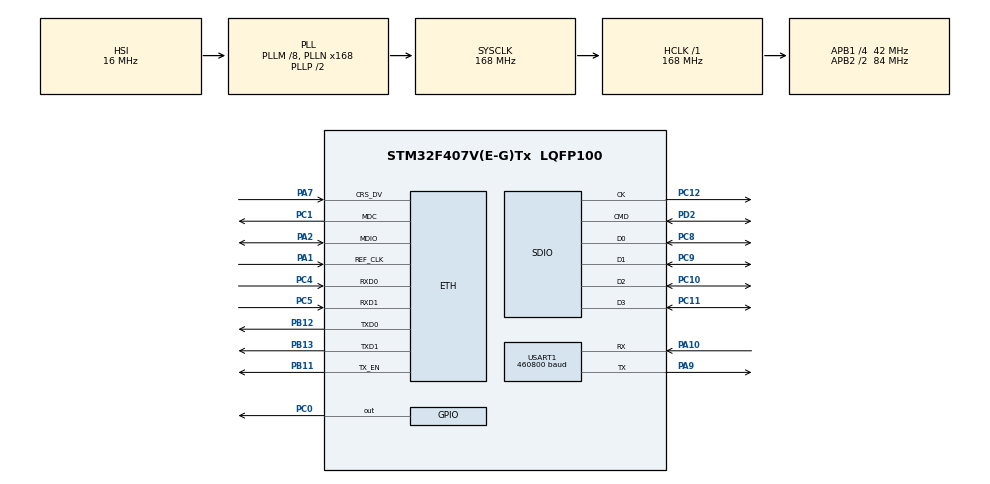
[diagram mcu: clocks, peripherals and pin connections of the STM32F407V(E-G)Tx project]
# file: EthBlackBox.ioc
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ETH.MediaInterface=HAL_ETH_RMII_MODE
ETH.RxMode=ETH_RXINTERRUPT_MODE
FREERTOS.Tasks01=defaultTask,2,256,StartDefaultTask,Default,NULL,Dynamic,NULL,NULL;ethernetTask,0,2048,EthernetTask,Default,NULL,Dynamic,NULL,NULL
FREERTOS.configUSE_STATS_FORMATTING_FUNCTIONS=1
FREERTOS.configUSE_TRACE_FACILITY=1
LWIP.BSP.number=1
LWIP.GATEWAY_ADDRESS=192.168.088.001
LWIP.IP_ADDRESS=192.168.088.010
LWIP.LWIP_DHCP=0
LWIP.NETMASK_ADDRESS=255.255.255.000
LWIP.Version=v2.1.2_Cube
LWIP0.BSP.STBoard=false
LWIP0.BSP.api=BSP_COMPONENT_DRIVER
LWIP0.BSP.component=LAN8742
LWIP0.BSP.instance=LAN8742
LWIP0.BSP.name=Driver_PHY
LWIP0.BSP.semaphore=S_LAN8742
LWIP0.BSP.solution=LAN8742
Mcu.Family=STM32F4
Mcu.Name=STM32F407V(E-G)Tx
Mcu.Package=LQFP100
NVIC.ETH_IRQn=true\:6\:0\:true\:false\:true\:true\:false\:true\:true
NVIC.PriorityGroup=NVIC_PRIORITYGROUP_4
NVIC.TIM1_UP_TIM10_IRQn=true\:0\:0\:false\:false\:true\:false\:false\:true\:true
NVIC.TimeBase=TIM1_UP_TIM10_IRQn
NVIC.TimeBaseIP=TIM1
PA1.Mode=RMII
PA1.Signal=ETH_REF_CLK
PA10.Mode=Asynchronous
PA10.Signal=USART1_RX
PA13.Mode=Serial_Wire
PA13.Signal=SYS_JTMS-SWDIO
PA14.Mode=Serial_Wire
PA14.Signal=SYS_JTCK-SWCLK
PA2.Mode=RMII
PA2.Signal=ETH_MDIO
PA7.Mode=RMII
PA7.Signal=ETH_CRS_DV
PA9.Mode=Asynchronous
PA9.Signal=USART1_TX
PB11.Mode=RMII
PB11.Signal=ETH_TX_EN
PB12.Mode=RMII
PB12.Signal=ETH_TXD0
PB13.Mode=RMII
PB13.Signal=ETH_TXD1
PC0.Signal=GPIO_Output
PC1.Mode=RMII
PC1.Signal=ETH_MDC
PC10.GPIO_PuPd=GPIO_PULLUP
PC10.Mode=SD_4_bits_Wide_bus
PC10.Signal=SDIO_D2
PC11.GPIO_PuPd=GPIO_PULLUP
PC11.Mode=SD_4_bits_Wide_bus
PC11.Signal=SDIO_D3
PC12.GPIO_PuPd=GPIO_PULLUP
PC12.Mode=SD_4_bits_Wide_bus
PC12.Signal=SDIO_CK
PC14-OSC32_IN.Mode=LSE-External-Oscillator
PC14-OSC32_IN.Signal=RCC_OSC32_IN
PC15-OSC32_OUT.Mode=LSE-External-Oscillator
PC15-OSC32_OUT.Signal=RCC_OSC32_OUT
PC4.Mode=RMII
PC4.Signal=ETH_RXD0
PC5.Mode=RMII
PC5.Signal=ETH_RXD1
PC8.GPIO_PuPd=GPIO_PULLUP
PC8.Mode=SD_4_bits_Wide_bus
PC8.Signal=SDIO_D0
PC9.GPIO_PuPd=GPIO_PULLUP
PC9.Mode=SD_4_bits_Wide_bus
PC9.Signal=SDIO_D1
PD2.GPIO_PuPd=GPIO_PULLUP
PD2.Mode=SD_4_bits_Wide_bus
PD2.Signal=SDIO_CMD
PH0-OSC_IN.Mode=HSE-External-Oscillator
PH0-OSC_IN.Signal=RCC_OSC_IN
PH1-OSC_OUT.Mode=HSE-External-Oscillator
PH1-OSC_OUT.Signal=RCC_OSC_OUT
ProjectManager.HeapSize=0x200
ProjectManager.StackSize=0x400
ProjectManager.TargetToolchain=EWARM V8.50
RCC.48MHZClocksFreq_Value=48000000
RCC.AHBFreq_Value=168000000
RCC.APB1CLKDivider=RCC_HCLK_DIV4
RCC.APB1Freq_Value=42000000
RCC.APB1TimFreq_Value=84000000
RCC.APB2CLKDivider=RCC_HCLK_DIV2
RCC.APB2Freq_Value=84000000
RCC.APB2TimFreq_Value=168000000
RCC.CortexFreq_Value=168000000
RCC.HCLKFreq_Value=168000000
RCC.HSE_VALUE=25000000
RCC.HSI_VALUE=16000000
RCC.PLLM=8
RCC.PLLN=168
RCC.PLLQ=7
RCC.SYSCLKFreq_VALUE=168000000
RCC.SYSCLKSource=RCC_SYSCLKSOURCE_PLLCLK
RCC.VCOOutputFreq_Value=336000000
SDIO.ClockDiv=2
SDIO.ClockPowerSave=SDIO_CLOCK_POWER_SAVE_DISABLE
SDIO.HardwareFlowControl=SDIO_HARDWARE_FLOW_CONTROL_DISABLE
USART1.BaudRate=460800
USART1.OverSampling=UART_OVERSAMPLING_16
USART1.Parity=PARITY_NONE
USART1.VirtualMode=VM_ASYNC
VP_FATFS_VS_SDIO.Mode=SDIO
VP_FREERTOS_VS_CMSIS_V1.Mode=CMSIS_V1
VP_LWIP_VS_Enabled.Mode=Enabled
VP_SYS_VS_tim1.Mode=TIM1
board=custom

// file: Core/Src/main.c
/* USER CODE BEGIN Header */
/**
  ******************************************************************************
  * @file           : main.c
  * @brief          : Main program body
  ******************************************************************************
  * @attention
  *
  * <h2><center>&copy; Copyright (c) 2024 STMicroelectronics.
  * All rights reserved.</center></h2>
  *
  * This software component is licensed by ST under BSD 3-Clause license,
  * the "License"; You may not use this file except in compliance with the
  * License. You may obtain a copy of the License at:
  *                        opensource.org/licenses/BSD-3-Clause
  *
  ******************************************************************************
  */
/* USER CODE END Header */
#include "main.h"
#include "cmsis_os.h"
#include "fatfs.h"
#include "lwip.h"
#include "sdio.h"
#include "usart.h"
#include "gpio.h"

/* USER CODE BEGIN Includes */
#include "usart.h"
#include "stdio.h"

/* USER CODE END Includes */

void SystemClock_Config(void);
void MX_FREERTOS_Init(void);

/* USER CODE BEGIN 0 */

int fputc(int ch, FILE *f) {
    HAL_UART_Transmit(&huart1, (uint8_t *)&ch, 1, HAL_MAX_DELAY);
    return ch;
}

/* USER CODE END 0 */

int main(void)
{

  /* MCU Configuration--------------------------------------------------------*/

  /* Reset of all peripherals, Initializes the Flash interface and the Systick. */
  HAL_Init();

  /* Configure the system clock */
  SystemClock_Config();

  /* Initialize all configured peripherals */
  MX_GPIO_Init();
  MX_USART1_UART_Init();
  MX_SDIO_SD_Init();
  MX_FATFS_Init();
  /* USER CODE BEGIN 2 */
  setvbuf(stdout, NULL, _IONBF, 0);

  printf("Hello, STM32!\r\n");

  /* USER CODE END 2 */

  /* Call init function for freertos objects (in cmsis_os2.c) */
  MX_FREERTOS_Init();

  /* Start scheduler */
  osKernelStart();

  /* We should never get here as control is now taken by the scheduler */

  /* Infinite loop */
  while (1)
  {

  }
}

void SystemClock_Config(void)
{
  RCC_OscInitTypeDef RCC_OscInitStruct = {0};
  RCC_ClkInitTypeDef RCC_ClkInitStruct = {0};

  /** Configure the main internal regulator output voltage
  */
  __HAL_RCC_PWR_CLK_ENABLE();
  __HAL_PWR_VOLTAGESCALING_CONFIG(PWR_REGULATOR_VOLTAGE_SCALE1);

  /** Initializes the RCC Oscillators according to the specified parameters
  * in the RCC_OscInitTypeDef structure.
  */
  RCC_OscInitStruct.OscillatorType = RCC_OSCILLATORTYPE_HSI;
  RCC_OscInitStruct.HSIState = RCC_HSI_ON;
  RCC_OscInitStruct.HSICalibrationValue = RCC_HSICALIBRATION_DEFAULT;
  RCC_OscInitStruct.PLL.PLLState = RCC_PLL_ON;
  RCC_OscInitStruct.PLL.PLLSource = RCC_PLLSOURCE_HSI;
  RCC_OscInitStruct.PLL.PLLM = 8;
  RCC_OscInitStruct.PLL.PLLN = 168;
  RCC_OscInitStruct.PLL.PLLP = RCC_PLLP_DIV2;
  RCC_OscInitStruct.PLL.PLLQ = 7;
  if (HAL_RCC_OscConfig(&RCC_OscInitStruct) != HAL_OK)
  {
    Error_Handler();
  }

  /** Initializes the CPU, AHB and APB buses clocks
  */
  RCC_ClkInitStruct.ClockType = RCC_CLOCKTYPE_HCLK|RCC_CLOCKTYPE_SYSCLK
                              |RCC_CLOCKTYPE_PCLK1|RCC_CLOCKTYPE_PCLK2;
  RCC_ClkInitStruct.SYSCLKSource = RCC_SYSCLKSOURCE_PLLCLK;
  RCC_ClkInitStruct.AHBCLKDivider = RCC_SYSCLK_DIV1;
  RCC_ClkInitStruct.APB1CLKDivider = RCC_HCLK_DIV4;
  RCC_ClkInitStruct.APB2CLKDivider = RCC_HCLK_DIV2;

  if (HAL_RCC_ClockConfig(&RCC_ClkInitStruct, FLASH_LATENCY_5) != HAL_OK)
  {
    Error_Handler();
  }
}

void HAL_TIM_PeriodElapsedCallback(TIM_HandleTypeDef *htim)
{
  if (htim->Instance == TIM1) {
    HAL_IncTick();
  }
}

void Error_Handler(void)
{
  __disable_irq();
  while (1)
  {
  }
}

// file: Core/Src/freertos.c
/* USER CODE BEGIN Header */
/**
  ******************************************************************************
  * File Name          : freertos.c
  * Description        : Code for freertos applications
  ******************************************************************************
  * @attention
  *
  * <h2><center>&copy; Copyright (c) 2024 STMicroelectronics.
  * All rights reserved.</center></h2>
  *
  * This software component is licensed by ST under Ultimate Liberty license
  * SLA0044, the "License"; You may not use this file except in compliance with
  * the License. You may obtain a copy of the License at:
  *                             www.st.com/SLA0044
  *
  ******************************************************************************
  */
/* USER CODE END Header */

#include "FreeRTOS.h"
#include "task.h"
#include "main.h"
#include "cmsis_os.h"

/* USER CODE BEGIN Includes */

#include "stdio.h"
#include "tcp_server.h"
#include "FreeRTOS.h"
#include "task.h"
#include "usart.h"
#include "fatfs.h"

/* USER CODE END Includes */

/* USER CODE BEGIN PD */

#define LAN8720_PHY_ADDRESS  0x00  // 根据你的硬件设计设置正确的PHY地址
//#define PHY_BSR              0x01  // LAN8720的基本状态寄存器地址

/* USER CODE END PD */

/* USER CODE BEGIN Variables */

FATFS FatFs;    // 文件系统对象
FIL fil;        // 文件对象
FRESULT res;    // 文件操作结果
/* USER CODE END Variables */
osThreadId defaultTaskHandle;
osThreadId ethernetTaskHandle;

/* USER CODE BEGIN FunctionPrototypes */
extern struct netif gnetif;
extern ETH_HandleTypeDef heth;

/* USER CODE END FunctionPrototypes */

void StartDefaultTask(void const * argument);
void EthernetTask(void const * argument);

extern void MX_LWIP_Init(void);
void MX_FREERTOS_Init(void); /* (MISRA C 2004 rule 8.1) */

/* GetIdleTaskMemory prototype (linked to static allocation support) */
void vApplicationGetIdleTaskMemory( StaticTask_t **ppxIdleTaskTCBBuffer, StackType_t **ppxIdleTaskStackBuffer, uint32_t *pulIdleTaskStackSize );

/* USER CODE BEGIN GET_IDLE_TASK_MEMORY */
static StaticTask_t xIdleTaskTCBBuffer;
static StackType_t xIdleStack[configMINIMAL_STACK_SIZE];

void vApplicationGetIdleTaskMemory( StaticTask_t **ppxIdleTaskTCBBuffer, StackType_t **ppxIdleTaskStackBuffer, uint32_t *pulIdleTaskStackSize )
{
  *ppxIdleTaskTCBBuffer = &xIdleTaskTCBBuffer;
  *ppxIdleTaskStackBuffer = &xIdleStack[0];
  *pulIdleTaskStackSize = configMINIMAL_STACK_SIZE;
  /* place for user code */
}

void init_sd_card(void) {
    // 初始化SD卡并挂载文件系统
    res = f_mount(&FatFs, "", 1);  // 挂载SD卡
    if (res == FR_OK) {
        printf("SD Card Mounted Successfully.\n");
    } else {
        printf("Failed to Mount SD Card.\n");
    }
}

void create_new_file(const char* filename) {
    // 创建一个新文件
    res = f_open(&fil, filename, FA_WRITE | FA_CREATE_ALWAYS);
    if (res == FR_OK) {
        printf("File Created Successfully: %s\n", filename);
    } else {
        printf("Failed to Create File: %s\n", filename);
    }
}

void write_to_file(const char* data, UINT data_len) {
    // 向文件写入数据
    UINT bytes_written;
    res = f_write(&fil, data, data_len, &bytes_written);
    if (res == FR_OK && bytes_written == data_len) {
        printf("Data Written to File Successfully.\n");
    } else {
        printf("Failed to Write Data to File.\n");
    }
}

void close_file(void) {
    // 关闭文件
    f_close(&fil);
    printf("File Closed.\n");
}
/* USER CODE END GET_IDLE_TASK_MEMORY */

void MX_FREERTOS_Init(void) {

  /* Create the thread(s) */
  /* definition and creation of defaultTask */
  osThreadDef(defaultTask, StartDefaultTask, osPriorityHigh, 0, 256);
  defaultTaskHandle = osThreadCreate(osThread(defaultTask), NULL);

  /* definition and creation of ethernetTask */
  osThreadDef(ethernetTask, EthernetTask, osPriorityNormal, 0, 2048);
  ethernetTaskHandle = osThreadCreate(osThread(ethernetTask), NULL);

}

void StartDefaultTask(void const * argument)
{
  /* init code for LWIP */
  MX_LWIP_Init();
  /* USER CODE BEGIN StartDefaultTask */
  /* Infinite loop */
  for(;;)
  {
//    char taskListBuffer[512];
//    vTaskList(taskListBuffer);
//    printf("\r\nTask List:\n%s\r\n\n", taskListBuffer);
//    printf("LWIP initialized, IP address: %s\r\n", ip4addr_ntoa(&gnetif.ip_addr));
//
//    uint32_t phyreg;
//    if (HAL_ETH_ReadPHYRegister(&heth, LAN8720_PHY_ADDRESS, PHY_BSR, &phyreg) != HAL_OK) {
//      printf("Failed to read PHY register\n");
//    } else {
//      printf("PHY BSR register value: 0x%08X\n", phyreg);
//    }
    osDelay(5000);
  }
  /* USER CODE END StartDefaultTask */
}

void EthernetTask(void const * argument)
{
  /* USER CODE BEGIN EthernetTask */
  int sock;
  struct sockaddr_in serverAddr, clientAddr;
  int addr_len = sizeof(clientAddr);
  char recvBuffer[128];

  // 初始化SD卡
  init_sd_card();
  create_new_file("0:/received_data.dat");  // 在TF卡根目录创建文件
  printf("sd_init!\r\n");

  // 创建套接字
  if ((sock = socket(AF_INET, SOCK_STREAM, 0)) < 0) {
      // 处理错误
      osThreadTerminate(NULL);
  }

  // 配置服务器地址
  serverAddr.sin_family = AF_INET;
  serverAddr.sin_port = htons(5000);
  serverAddr.sin_addr.s_addr = INADDR_ANY;

  // 绑定套接字
  if (bind(sock, (struct sockaddr *)&serverAddr, sizeof(serverAddr)) < 0) {
      // 处理错误
      close(sock);
      osThreadTerminate(NULL);
  }

  // 监听连接
  if (listen(sock, 1) < 0) {
      // 处理错误
      close(sock);
      osThreadTerminate(NULL);
  }

  for(;;)
  {
    int newSock = accept(sock, (struct sockaddr *)&clientAddr, (socklen_t *)&addr_len);
    if (newSock < 0) {
        // 处理错误
        continue;
    }

    while (1) {
        int recvLen = recv(newSock, recvBuffer, sizeof(recvBuffer) - 1, 0);
        if (recvLen > 0) {
            recvBuffer[recvLen] = '\0';  // 确保数据以字符串结束（根据需要调整）

            // 将接收到的数据通过串口发送
            HAL_UART_Transmit(&huart1, (uint8_t*)recvBuffer, recvLen, HAL_MAX_DELAY);

            // 将接收到的数据写入TF卡
            write_to_file(recvBuffer, recvLen);

        } else {
            // 处理连接断开
            close_file();  // 在连接断开时关闭文件
            break;
        }
    }
    close(newSock);
  }

  /* USER CODE END EthernetTask */
}
